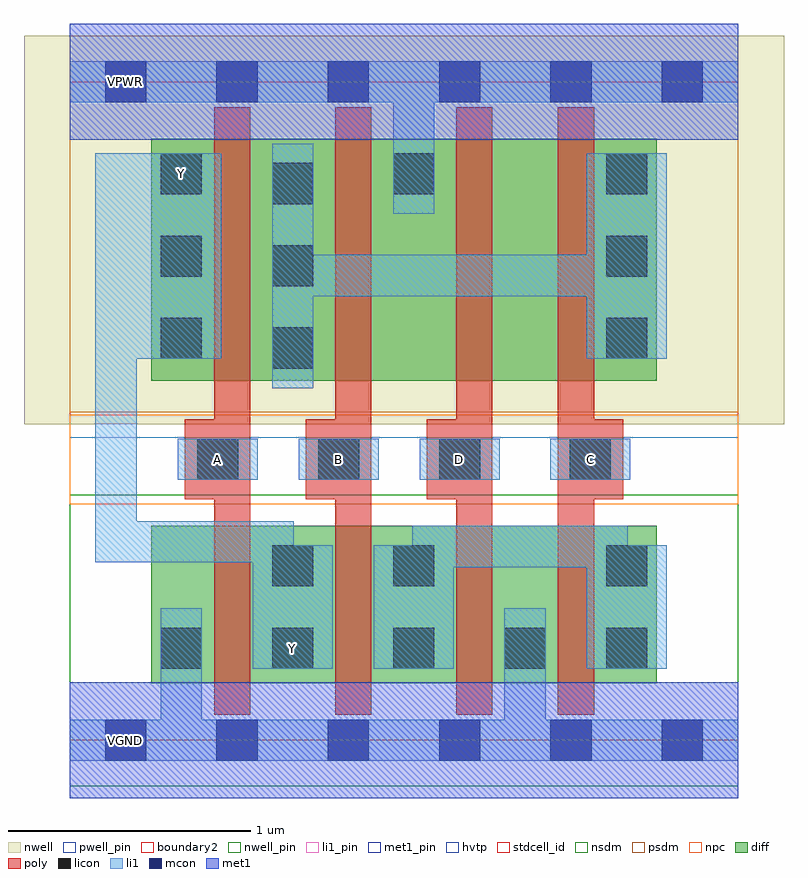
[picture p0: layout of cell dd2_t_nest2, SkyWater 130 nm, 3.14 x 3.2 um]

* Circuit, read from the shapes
.subckt dd2_t_nest2 A B C D VGND VNB VPB VPWR Y
XM1 Y A VGND VNB sky130_fd_pr__nfet_01v8 w=0.65 l=0.15
XM2 n1 B Y VNB sky130_fd_pr__nfet_01v8 w=0.65 l=0.15
XM3 VGND D n1 VNB sky130_fd_pr__nfet_01v8 w=0.65 l=0.15
XM4 n1 C VGND VNB sky130_fd_pr__nfet_01v8 w=0.65 l=0.15
XM5 n2 A Y VPB sky130_fd_pr__pfet_01v8_hvt w=1 l=0.15
XM6 VPWR B n2 VPB sky130_fd_pr__pfet_01v8_hvt w=1 l=0.15
XM7 n3 D VPWR VPB sky130_fd_pr__pfet_01v8_hvt w=1 l=0.15
XM8 n2 C n3 VPB sky130_fd_pr__pfet_01v8_hvt w=1 l=0.15
.ends

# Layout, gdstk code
import gdstk
lib = gdstk.Library(unit=1e-6, precision=1e-09)
def R(c, l, rs):  # rectangles x0, y0, x1, y1
    for r in rs: c.add(gdstk.rectangle(r[:2], r[2:], *l))
def A(c, l, x, y, w, h, nx, ny, dx, dy):  # array of equal rectangles
    R(c, l, [(x+i*dx, y+j*dy, x+i*dx+w, y+j*dy+h) for i in range(nx) for j in range(ny)])
nwell_pin = (64, 16)
nwell = (64, 20)
diff = (65, 20)
poly = (66, 20)
licon = (66, 44)
li1_pin = (67, 16)
li1 = (67, 20)
mcon = (67, 44)
met1_pin = (68, 16)
met1 = (68, 20)
hvtp = (78, 44)
stdcell_id = (81, 4)
nsdm = (93, 44)
psdm = (94, 20)
npc = (95, 20)
pwell_pin = (122, 16)
boundary2 = (236, 0)

dd2_t_nest2 = lib.new_cell('dd2_t_nest2')
R(dd2_t_nest2, nwell_pin, [(0.145,2.635,0.315,2.805)])
R(dd2_t_nest2, nwell, [(-0.19,1.305,2.95,2.91)])
R(dd2_t_nest2, diff, [(0.335,0.235,0.92,0.885), (0.92,0.235,1.42,0.885), (1.42,0.235,1.88,0.885), (1.88,0.235,2.425,0.885), (0.335,1.485,0.92,2.485), (0.92,1.485,1.42,2.485), (1.42,1.485,1.88,2.485), (1.88,1.485,2.425,2.485)])
A(dd2_t_nest2, poly, 0.595, 0.105, 0.15, 2.51, 3, 1, 0.5, 0)
A(dd2_t_nest2, poly, 0.475, 0.995, 0.27, 0.33, 3, 1, 0.5, 0)
R(dd2_t_nest2, poly, [(2.015,0.105,2.165,2.615), (2.015,0.995,2.285,1.325)])
A(dd2_t_nest2, licon, 0.525, 1.075, 0.17, 0.17, 3, 1, 0.5, 0)
A(dd2_t_nest2, licon, 0.835, 1.535, 0.17, 0.17, 1, 3, 0, 0.34)
A(dd2_t_nest2, licon, 0.375, 1.575, 0.17, 0.17, 1, 3, 0, 0.34)
A(dd2_t_nest2, licon, 2.215, 1.575, 0.17, 0.17, 1, 3, 0, 0.34)
R(dd2_t_nest2, licon, [(0.375,0.295,0.545,0.465), (0.835,0.295,1.005,0.465), (1.335,0.295,1.505,0.465), (1.795,0.295,1.965,0.465), (2.215,0.295,2.385,0.465), (0.835,0.635,1.005,0.805), (1.335,0.635,1.505,0.805), (2.215,0.635,2.385,0.805), (2.065,1.075,2.235,1.245), (1.335,2.255,1.505,2.425)])
A(dd2_t_nest2, li1_pin, 0.525, 1.075, 0.17, 0.17, 3, 1, 0.5, 0)
R(dd2_t_nest2, li1_pin, [(0.835,0.295,1.005,0.465), (2.065,1.075,2.235,1.245), (0.375,2.255,0.545,2.425)])
A(dd2_t_nest2, li1, 0.445, 1.075, 0.33, 0.17, 3, 1, 0.5, 0)
R(dd2_t_nest2, li1, [(0,-0.085,2.76,0.085), (0.375,-0.085,0.545,0.545), (1.795,-0.085,1.965,0.545), (0.755,0.295,1.085,0.465), (0.755,0.295,0.925,0.905), (0.755,0.295,1.085,0.805), (1.255,0.295,1.585,0.465), (1.255,0.295,1.585,0.805), (1.415,0.295,1.585,0.885), (2.135,0.295,2.465,0.465), (2.135,0.295,2.305,0.885), (2.135,0.295,2.465,0.805), (1.415,0.715,2.305,0.885), (0.105,0.735,0.925,0.905), (0.105,0.735,0.275,2.425), (1.985,1.075,2.315,1.245), (0.835,1.455,1.005,2.045), (0.275,1.575,0.295,2.085), (0.275,1.575,0.295,2.085), (0.275,1.575,0.295,2.085), (0.275,1.575,0.295,2.085), (0.295,1.575,0.625,2.085), (2.135,1.575,2.465,2.085), (0.835,1.795,1.005,2.385), (0.835,1.835,1.005,2.305), (0.835,1.835,2.305,2.005), (2.135,1.835,2.305,2.425), (0.275,1.915,0.295,2.425), (0.275,1.915,0.295,2.425), (0.275,1.915,0.295,2.425), (0.275,1.915,0.295,2.425), (0.295,1.915,0.625,2.425), (2.135,1.915,2.465,2.425), (0.835,2.005,1.005,2.135), (0.835,2.005,1.005,2.135), (0.835,2.005,1.005,2.135), (0.835,2.005,1.005,2.135), (0.835,2.005,1.005,2.045), (0.835,2.005,1.005,2.045), (0.835,2.005,1.005,2.045), (0.835,2.005,1.005,2.045), (0.835,2.005,1.005,2.045), (0.835,2.005,1.005,2.045), (0.835,2.005,1.005,2.045), (0.835,2.045,1.005,2.135), (0.835,2.045,1.005,2.135), (0.835,2.045,1.005,2.135), (0.835,2.045,1.005,2.135), (0.835,2.045,1.005,2.135), (0.835,2.045,1.005,2.135), (0.835,2.045,1.005,2.135), (0.835,2.045,1.005,2.135), (0.835,2.135,1.005,2.465), (1.335,2.175,1.505,2.805), (0.105,2.255,0.465,2.425), (0.275,2.255,0.295,2.425), (0.275,2.255,0.295,2.425), (0.275,2.255,0.295,2.425), (0.275,2.255,0.295,2.425), (0.295,2.255,0.625,2.425), (2.135,2.255,2.465,2.425), (0,2.635,2.76,2.805)])
A(dd2_t_nest2, mcon, 0.145, -0.085, 0.17, 0.17, 6, 2, 0.46, 2.72)
R(dd2_t_nest2, met1_pin, [(0.145,-0.085,0.315,0.085), (0.145,2.635,0.315,2.805)])
R(dd2_t_nest2, met1, [(0,-0.24,2.76,0.24), (0,2.48,2.76,2.96)])
R(dd2_t_nest2, hvtp, [(0,1.25,2.76,2.72)])
R(dd2_t_nest2, stdcell_id, [(0,0,2.76,2.72)])
R(dd2_t_nest2, nsdm, [(0,-0.19,2.76,1.015)])
R(dd2_t_nest2, psdm, [(0,1.355,2.76,2.91)])
R(dd2_t_nest2, npc, [(0,0.975,2.76,1.345)])
R(dd2_t_nest2, pwell_pin, [(0.145,-0.085,0.315,0.085)])
R(dd2_t_nest2, boundary2, [(0,0,2.76,2.72)])
dd2_t_nest2.add(gdstk.Label('A', (0.61,1.16), layer=67, texttype=5))
dd2_t_nest2.add(gdstk.Label('B', (1.11,1.16), layer=67, texttype=5))
dd2_t_nest2.add(gdstk.Label('C', (2.15,1.16), layer=67, texttype=5))
dd2_t_nest2.add(gdstk.Label('D', (1.61,1.16), layer=67, texttype=5))
dd2_t_nest2.add(gdstk.Label('Y', (0.92,0.38), layer=67, texttype=5))
dd2_t_nest2.add(gdstk.Label('Y', (0.46,2.34), layer=67, texttype=5))
dd2_t_nest2.add(gdstk.Label('VGND', (0.23,0), layer=68, texttype=5))
dd2_t_nest2.add(gdstk.Label('VPWR', (0.23,2.72), layer=68, texttype=5))
dd2_t_nest2.add(gdstk.Label('VPB', (0.23,2.72), layer=64, texttype=5))
dd2_t_nest2.add(gdstk.Label('VNB', (0.23,0), layer=64, texttype=59))

lib.write_gds('dd2_t_nest2.gds')
